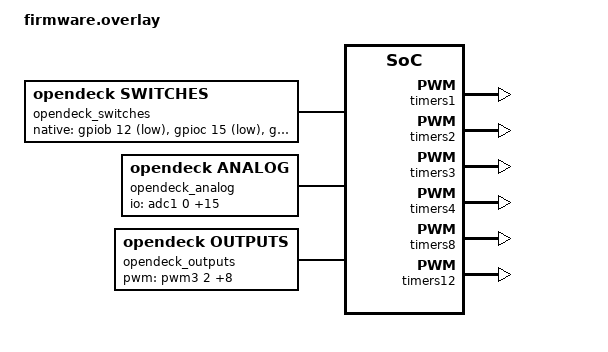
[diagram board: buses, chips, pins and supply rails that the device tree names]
/ {
    opendeck_metadata: opendeck-metadata {
        compatible = "opendeck,metadata";
        zephyr-board = "weact_stm32f405_core/stm32f405xx";
    };

    opendeck_transports: opendeck-transports {
        compatible = "opendeck,transports";
        uart = <&opendeck_uart_din_midi>;
        usb;
    };

    opendeck_tests: opendeck-tests {
        compatible = "opendeck,tests";
        host;
    };

    opendeck_bulk_build: opendeck-bulk-build {
        compatible = "opendeck,bulk-build";
        app;
    };

    opendeck_switches: opendeck-switches {
        compatible = "opendeck,switches";
        mode = "native";
        native-gpios =
            <&gpiob 12 (GPIO_PULL_UP | GPIO_ACTIVE_LOW)>,
            <&gpioc 15 (GPIO_PULL_UP | GPIO_ACTIVE_LOW)>,
            <&gpioc 13 (GPIO_PULL_UP | GPIO_ACTIVE_LOW)>,
            <&gpioc 10 (GPIO_PULL_UP | GPIO_ACTIVE_LOW)>,
            <&gpioc 12 (GPIO_PULL_UP | GPIO_ACTIVE_LOW)>,
            <&gpiob 3 (GPIO_PULL_UP | GPIO_ACTIVE_LOW)>,
            <&gpiob 13 (GPIO_PULL_UP | GPIO_ACTIVE_LOW)>,
            <&gpioc 14 (GPIO_PULL_UP | GPIO_ACTIVE_LOW)>,
            <&gpioa 15 (GPIO_PULL_UP | GPIO_ACTIVE_LOW)>,
            <&gpioc 11 (GPIO_PULL_UP | GPIO_ACTIVE_LOW)>,
            <&gpiod 2 (GPIO_PULL_UP | GPIO_ACTIVE_LOW)>,
            <&gpiob 4 (GPIO_PULL_UP | GPIO_ACTIVE_LOW)>;
    };

    opendeck_analog: opendeck-analog {
        compatible = "opendeck,analog";
        mode = "native";
        io-channels =
            <&adc1 0>,
            <&adc1 1>,
            <&adc1 2>,
            <&adc1 3>,
            <&adc1 4>,
            <&adc1 5>,
            <&adc1 6>,
            <&adc1 7>,
            <&adc1 8>,
            <&adc1 9>,
            <&adc1 10>,
            <&adc1 11>,
            <&adc1 12>,
            <&adc1 13>,
            <&adc1 14>,
            <&adc1 15>;
    };

    opendeck_outputs: opendeck-outputs {
        compatible = "opendeck,outputs";
        mode = "pwm";
        pwms =
            <&pwm3 2 PWM_MSEC(1) PWM_POLARITY_NORMAL>,
            <&pwm4 3 PWM_MSEC(1) PWM_POLARITY_NORMAL>,
            <&pwm4 4 PWM_MSEC(1) PWM_POLARITY_NORMAL>,
            <&pwm2 4 PWM_MSEC(1) PWM_POLARITY_NORMAL>,
            <&pwm12 1 PWM_MSEC(1) PWM_POLARITY_NORMAL>,
            <&pwm12 2 PWM_MSEC(1) PWM_POLARITY_NORMAL>,
            <&pwm1 1 PWM_MSEC(1) PWM_POLARITY_NORMAL>,
            <&pwm3 3 PWM_MSEC(1) PWM_POLARITY_NORMAL>,
            <&pwm8 1 PWM_MSEC(1) PWM_POLARITY_NORMAL>;
    };

    opendeck_touchscreen: opendeck-touchscreen {
        compatible = "opendeck,touchscreen";
        component-count = <64>;
        uart = <&opendeck_uart_touchscreen>;
    };

    opendeck_display: opendeck-display {
        compatible = "opendeck,display-i2c";
        i2c = <&opendeck_i2c_display>;
    };
};

opendeck_uart_din_midi: &usart1 {};

opendeck_uart_touchscreen: &usart1 {};

opendeck_i2c_display: &i2c1 {};

&timers1 {
    status = "okay";

    pwm1: pwm {
        status = "okay";
        pinctrl-0 = <&tim1_ch1_pa8>;
        pinctrl-names = "default";
    };
};

&timers2 {
    status = "okay";

    pwm2: pwm {
        status = "okay";
        pinctrl-0 = <&tim2_ch4_pb11>;
        pinctrl-names = "default";
    };
};

&timers3 {
    status = "okay";

    pwm3: pwm {
        status = "okay";
        pinctrl-0 = <&tim3_ch2_pb5 &tim3_ch3_pc8 &tim3_ch4_pc9>;
        pinctrl-names = "default";
    };
};

&timers4 {
    status = "okay";

    pwm4: pwm {
        status = "okay";
        pinctrl-0 = <&tim4_ch3_pb8 &tim4_ch4_pb9>;
        pinctrl-names = "default";
    };
};

&timers8 {
    status = "okay";

    pwm8: pwm {
        status = "okay";
        pinctrl-0 = <&tim8_ch1_pc6>;
        pinctrl-names = "default";
    };
};

&timers12 {
    status = "okay";

    pwm12: pwm {
        status = "okay";
        pinctrl-0 = <&tim12_ch1_pb14 &tim12_ch2_pb15>;
        pinctrl-names = "default";
    };
};
